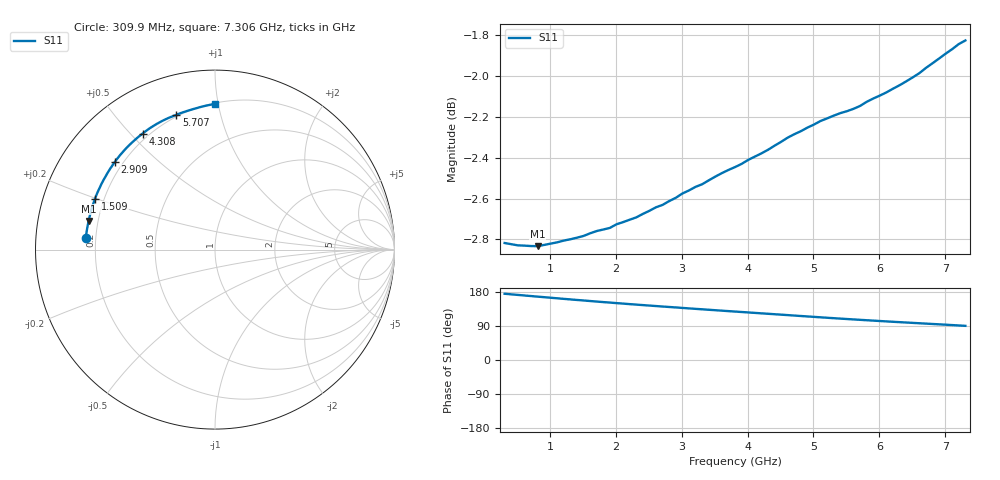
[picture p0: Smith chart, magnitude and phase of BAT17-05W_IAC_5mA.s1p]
! Infineon Technologies  Discrete & RF Semiconductors
! BAT17-05W
! IAC = 5 mA
! One-Port S-Parameters
# Hz  S  MA  R  50
!f  S11
!Hz  Mag  Ang
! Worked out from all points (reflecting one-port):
!   71 points, 309.9 MHz to 7.306 GHz, reference 50 ohm
!   lowest |S11| = -2.8 dB at 809.6 MHz (marker M1), VSWR 6.19, Z = 8.18 + j5.43 ohm
!   phase of S11 starts at 175 deg and turns -85 deg over the sweep
!   S11 on the Smith chart (normalised r, x): 309.9 MHz: 0.16, +0.04; 1.509 GHz: 0.17, +0.20; 2.909 GHz: 0.17, +0.37; 4.308 GHz: 0.18, +0.54; 5.707 GHz: 0.19, +0.74; 7.306 GHz: 0.21, +0.98
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3.0985e8  0.723 174.8
6.097e8  0.7219 170.3
8.096e8  0.7217 167.3
1.0095e9  0.7228 164.3
1.2094e9  0.724 161.3
1.50925e9  0.7259 157.0
1.8091e9  0.7285 152.8
2.10895e9  0.7316 148.8
2.2089e9  0.7326 147.5
2.6087e9  0.7377 142.4
2.90855e9  0.7417 138.7
3.0085e9  0.7435 137.4
3.2084e9  0.7463 135.0
3.50825e9  0.7506 131.4
3.8081e9  0.7546 127.8
4.008e9  0.7577 125.5
4.30785e9  0.762 122.0
4.50775e9  0.7655 119.7
4.70765e9  0.7688 117.3
4.90755e9  0.7716 115.0
5.2074e9  0.7757 111.5
5.4073e9  0.778 109.2
5.6072e9  0.7799 107.0
5.70715e9  0.7811 106.0
6.007e9  0.7857 102.9
6.50675e9  0.7938 97.9
7.0065e9  0.8045 93.1
7.30635e9  0.8105 90.1
